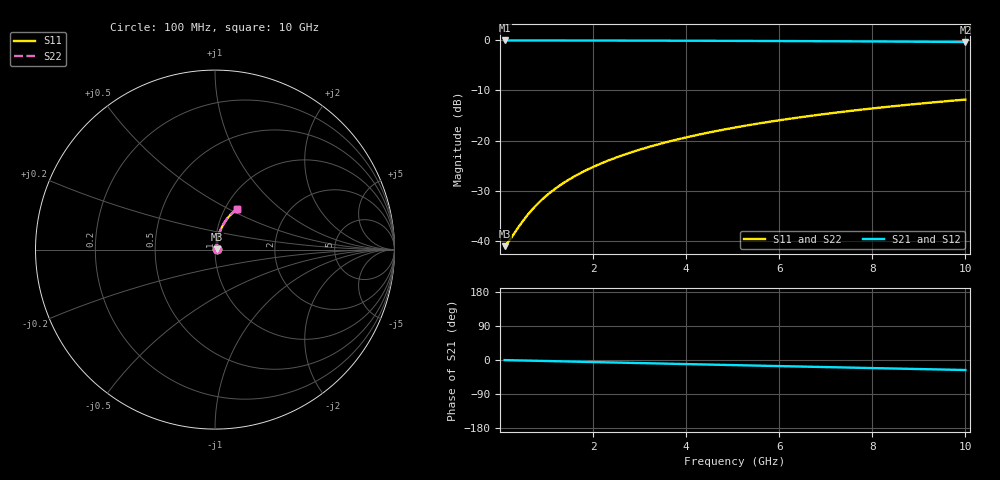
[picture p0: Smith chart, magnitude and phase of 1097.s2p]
# Hz S RI R 50.00
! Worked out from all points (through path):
!   100 points, 100 MHz to 10 GHz, reference 50 ohm
!   highest |S21| = -0.07 dB at 100 MHz (marker M1); lowest = -0.4 dB at 10 GHz (marker M2)
!   group delay of S21, straight-line fit = 7.35 ps
!   lowest |S11| = -40.9 dB at 100 MHz (marker M3), VSWR 1.02, Z = 50.9 + j0.272 ohm
!   |S11| at or under -10 dB: start of sweep to end of sweep
!   |S22| runs from -40.9 to -11.8 dB; largest |S21 - S12| = 0
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1e8  0.00857 0.00268  0.9914 -0.00467  0.9914 -0.00467  0.00857 0.00268
2e8  0.00867 0.00535  0.9913 -0.00934  0.9913 -0.00934  0.00867 0.00535
4e8  0.00889 0.0107  0.9911 -0.0187  0.9911 -0.0187  0.00889 0.0107
5e8  0.00903 0.0134  0.9909 -0.0233  0.9909 -0.0233  0.00903 0.0134
6e8  0.0092 0.016  0.9907 -0.028  0.9907 -0.028  0.0092 0.016
7e8  0.00938 0.0187  0.9905 -0.0327  0.9905 -0.0327  0.00938 0.0187
9e8  0.00982 0.024  0.99 -0.042  0.99 -0.042  0.00982 0.024
1.1e9  0.0104 0.0294  0.9894 -0.0513  0.9894 -0.0513  0.0104 0.0294
1.3e9  0.011 0.0347  0.9886 -0.0606  0.9886 -0.0606  0.011 0.0347
1.5e9  0.0117 0.04  0.9878 -0.0699  0.9878 -0.0699  0.0117 0.04
1.8e9  0.013 0.0479  0.9863 -0.0837  0.9863 -0.0837  0.013 0.0479
2.1e9  0.0145 0.0557  0.9846 -0.0976  0.9846 -0.0976  0.0145 0.0557
2.5e9  0.0168 0.0661  0.9819 -0.116  0.9819 -0.116  0.0168 0.0661
2.9e9  0.0195 0.0764  0.9787 -0.1342  0.9787 -0.1342  0.0195 0.0764
3.4e9  0.0235 0.0891  0.9742 -0.1569  0.9742 -0.1569  0.0235 0.0891
4.2e9  0.0309 0.1089  0.9655 -0.1927  0.9655 -0.1927  0.0309 0.1089
5.1e9  0.041 0.1304  0.9537 -0.2322  0.9537 -0.2322  0.041 0.1304
5.9e9  0.0514 0.1486  0.9415 -0.2664  0.9415 -0.2664  0.0514 0.1486
6.7e9  0.063 0.1658  0.9278 -0.2997  0.9278 -0.2997  0.063 0.1658
7.5e9  0.0758 0.1821  0.9127 -0.332  0.9127 -0.332  0.0758 0.1821
8.4e9  0.0914 0.1991  0.8942 -0.3671  0.8942 -0.3671  0.0914 0.1991
1e10  0.122 0.2257  0.8575 -0.4259  0.8575 -0.4259  0.122 0.2257
